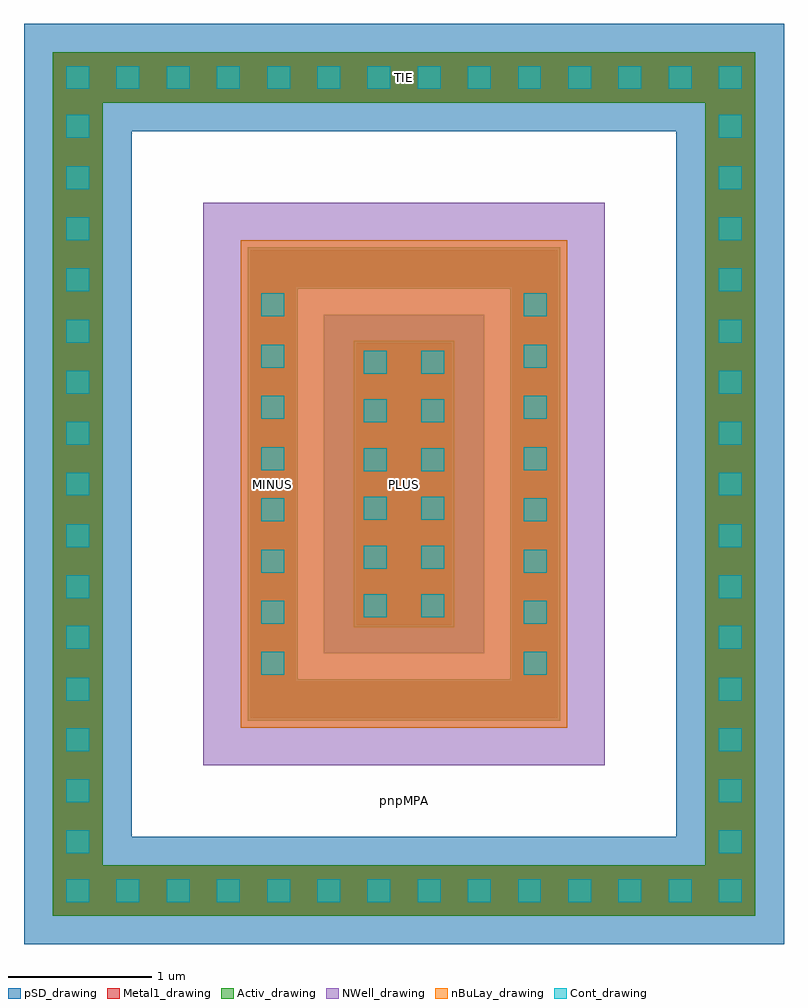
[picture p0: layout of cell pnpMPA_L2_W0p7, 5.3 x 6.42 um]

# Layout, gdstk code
import gdstk
lib = gdstk.Library(unit=1e-6, precision=1e-09)
def R(c, l, rs):  # rectangles x0, y0, x1, y1
    for r in rs: c.add(gdstk.rectangle(r[:2], r[2:], *l))
def P(c, l, *ps):  # polygons
    for p in ps: c.add(gdstk.Polygon(p, *l))
Activ_drawing = (1, 0)
Cont_drawing = (6, 0)
Metal1_drawing = (8, 0)
pSD_drawing = (14, 0)
NWell_drawing = (31, 0)
nBuLay_drawing = (32, 0)

rectangle_gdsfactorypcom = lib.new_cell('rectangle_gdsfactorypcomponentspshapesprectangle_S0p700_4cae727d')
R(rectangle_gdsfactorypcom, Activ_drawing, [(0,0,0.7,2)])

c_rectangle_gdsfactorypcom = lib.new_cell('rectangle_gdsfactorypcomponentspshapesprectangle_S1p12__f5ff6255')
R(c_rectangle_gdsfactorypcom, pSD_drawing, [(0,0,1.12,2.36)])

c_rectangle_gdsfactorypcom_ = lib.new_cell('rectangle_gdsfactorypcomponentspshapesprectangle_S0p16__bf15bdcd')
R(c_rectangle_gdsfactorypcom_, Cont_drawing, [(0,0,0.16,0.16)])

unnamed_317 = lib.new_cell('Unnamed_317')
P(unnamed_317, Activ_drawing, [(-1.09,-1.65),(-1.09,1.36),(-0.74,1.36),(-0.74,-1.36),(0.74,-1.36),(0.74,1.36),(-1.09,1.36),(-1.09,1.65),(1.09,1.65),(1.09,-1.65)])

unnamed_322 = lib.new_cell('Unnamed_322')
P(unnamed_322, Metal1_drawing, [(-1.07,-1.63),(-1.07,1.38),(-0.76,1.38),(-0.76,-1.38),(0.76,-1.38),(0.76,1.38),(-1.07,1.38),(-1.07,1.63),(1.07,1.63),(1.07,-1.63)])

c_rectangle_gdsfactorypcom__ = lib.new_cell('rectangle_gdsfactorypcomponentspshapesprectangle_S2p280_5368f5d8')
R(c_rectangle_gdsfactorypcom__, nBuLay_drawing, [(0,0,2.28,3.4)])

c_rectangle_gdsfactorypcom___ = lib.new_cell('rectangle_gdsfactorypcomponentspshapesprectangle_S2p800_ee7501a8')
R(c_rectangle_gdsfactorypcom___, NWell_drawing, [(0,0,2.8,3.92)])

unnamed_331 = lib.new_cell('Unnamed_331')
P(unnamed_331, pSD_drawing, [(-2.65,-3.21),(-2.65,2.46),(-1.9,2.46),(-1.9,-2.46),(1.9,-2.46),(1.9,2.46),(-2.65,2.46),(-2.65,3.21),(2.65,3.21),(2.65,-3.21)])

unnamed_336 = lib.new_cell('Unnamed_336')
P(unnamed_336, Activ_drawing, [(-2.45,-3.01),(-2.45,2.66),(-2.1,2.66),(-2.1,-2.66),(2.1,-2.66),(2.1,2.66),(-2.45,2.66),(-2.45,3.01),(2.45,3.01),(2.45,-3.01)])

unnamed_341 = lib.new_cell('Unnamed_341')
P(unnamed_341, Metal1_drawing, [(-2.45,-3.01),(-2.45,2.66),(-2.1,2.66),(-2.1,-2.66),(2.1,-2.66),(2.1,2.66),(-2.45,2.66),(-2.45,3.01),(2.45,3.01),(2.45,-3.01)])

c_rectangle_gdsfactorypcom____ = lib.new_cell('rectangle_gdsfactorypcomponentspshapesprectangle_S4p9_0_3d186bcc')
R(c_rectangle_gdsfactorypcom____, Metal1_drawing, [(0,0,4.9,0.35)])

c_rectangle_gdsfactorypcom_____ = lib.new_cell('rectangle_gdsfactorypcomponentspshapesprectangle_S0p66__d4d98202')
R(c_rectangle_gdsfactorypcom_____, Metal1_drawing, [(0,0,0.66,1.96)])

c_rectangle_gdsfactorypcom______ = lib.new_cell('rectangle_gdsfactorypcomponentspshapesprectangle_S0p310_68927d79')
R(c_rectangle_gdsfactorypcom______, Metal1_drawing, [(0,0,0.31,2.76)])

pnpmpa_l2_w0p7 = lib.new_cell('pnpMPA_L2_W0p7')
pnpmpa_l2_w0p7.add(gdstk.Reference(rectangle_gdsfactorypcom, (-0.35,-1)))
pnpmpa_l2_w0p7.add(gdstk.Reference(c_rectangle_gdsfactorypcom, (-0.56,-1.18)))
pnpmpa_l2_w0p7.add(gdstk.Reference(c_rectangle_gdsfactorypcom_, (-0.28,-0.93)))
pnpmpa_l2_w0p7.add(gdstk.Reference(c_rectangle_gdsfactorypcom_, (-0.28,-0.59)))
pnpmpa_l2_w0p7.add(gdstk.Reference(c_rectangle_gdsfactorypcom_, (-0.28,-0.25)))
pnpmpa_l2_w0p7.add(gdstk.Reference(c_rectangle_gdsfactorypcom_, (-0.28,0.09)))
pnpmpa_l2_w0p7.add(gdstk.Reference(c_rectangle_gdsfactorypcom_, (-0.28,0.43)))
pnpmpa_l2_w0p7.add(gdstk.Reference(c_rectangle_gdsfactorypcom_, (-0.28,0.77)))
pnpmpa_l2_w0p7.add(gdstk.Reference(c_rectangle_gdsfactorypcom_, (0.12,-0.93)))
pnpmpa_l2_w0p7.add(gdstk.Reference(c_rectangle_gdsfactorypcom_, (0.12,-0.59)))
pnpmpa_l2_w0p7.add(gdstk.Reference(c_rectangle_gdsfactorypcom_, (0.12,-0.25)))
pnpmpa_l2_w0p7.add(gdstk.Reference(c_rectangle_gdsfactorypcom_, (0.12,0.09)))
pnpmpa_l2_w0p7.add(gdstk.Reference(c_rectangle_gdsfactorypcom_, (0.12,0.43)))
pnpmpa_l2_w0p7.add(gdstk.Reference(c_rectangle_gdsfactorypcom_, (0.12,0.77)))
pnpmpa_l2_w0p7.add(gdstk.Reference(c_rectangle_gdsfactorypcom_, (-0.995,-1.33)))
pnpmpa_l2_w0p7.add(gdstk.Reference(c_rectangle_gdsfactorypcom_, (-0.995,-0.975)))
pnpmpa_l2_w0p7.add(gdstk.Reference(unnamed_317, (0,0)))
pnpmpa_l2_w0p7.add(gdstk.Reference(unnamed_322, (0,0)))
pnpmpa_l2_w0p7.add(gdstk.Reference(c_rectangle_gdsfactorypcom_, (-0.995,-0.62)))
pnpmpa_l2_w0p7.add(gdstk.Reference(c_rectangle_gdsfactorypcom_, (-0.995,-0.26)))
pnpmpa_l2_w0p7.add(gdstk.Reference(c_rectangle_gdsfactorypcom_, (-0.995,0.095)))
pnpmpa_l2_w0p7.add(gdstk.Reference(c_rectangle_gdsfactorypcom_, (-0.995,0.455)))
pnpmpa_l2_w0p7.add(gdstk.Reference(c_rectangle_gdsfactorypcom_, (-0.995,0.81)))
pnpmpa_l2_w0p7.add(gdstk.Reference(c_rectangle_gdsfactorypcom_, (-0.995,1.17)))
pnpmpa_l2_w0p7.add(gdstk.Reference(c_rectangle_gdsfactorypcom_, (0.835,-1.33)))
pnpmpa_l2_w0p7.add(gdstk.Reference(c_rectangle_gdsfactorypcom_, (0.835,-0.975)))
pnpmpa_l2_w0p7.add(gdstk.Reference(c_rectangle_gdsfactorypcom_, (0.835,-0.62)))
pnpmpa_l2_w0p7.add(gdstk.Reference(c_rectangle_gdsfactorypcom_, (0.835,-0.26)))
pnpmpa_l2_w0p7.add(gdstk.Reference(c_rectangle_gdsfactorypcom_, (0.835,0.095)))
pnpmpa_l2_w0p7.add(gdstk.Reference(c_rectangle_gdsfactorypcom_, (0.835,0.455)))
pnpmpa_l2_w0p7.add(gdstk.Reference(c_rectangle_gdsfactorypcom_, (0.835,0.81)))
pnpmpa_l2_w0p7.add(gdstk.Reference(c_rectangle_gdsfactorypcom_, (0.835,1.17)))
pnpmpa_l2_w0p7.add(gdstk.Reference(c_rectangle_gdsfactorypcom__, (-1.14,-1.7)))
pnpmpa_l2_w0p7.add(gdstk.Reference(c_rectangle_gdsfactorypcom___, (-1.4,-1.96)))
pnpmpa_l2_w0p7.add(gdstk.Reference(c_rectangle_gdsfactorypcom_, (-2.355,2.755)))
pnpmpa_l2_w0p7.add(gdstk.Reference(c_rectangle_gdsfactorypcom_, (-2.005,2.755)))
pnpmpa_l2_w0p7.add(gdstk.Reference(unnamed_331, (0,0)))
pnpmpa_l2_w0p7.add(gdstk.Reference(unnamed_336, (0,0)))
pnpmpa_l2_w0p7.add(gdstk.Reference(unnamed_341, (0,0)))
pnpmpa_l2_w0p7.add(gdstk.Reference(c_rectangle_gdsfactorypcom_, (-1.655,2.755)))
pnpmpa_l2_w0p7.add(gdstk.Reference(c_rectangle_gdsfactorypcom_, (-1.305,2.755)))
pnpmpa_l2_w0p7.add(gdstk.Reference(c_rectangle_gdsfactorypcom_, (-0.955,2.755)))
pnpmpa_l2_w0p7.add(gdstk.Reference(c_rectangle_gdsfactorypcom_, (-0.605,2.755)))
pnpmpa_l2_w0p7.add(gdstk.Reference(c_rectangle_gdsfactorypcom_, (-0.255,2.755)))
pnpmpa_l2_w0p7.add(gdstk.Reference(c_rectangle_gdsfactorypcom_, (0.095,2.755)))
pnpmpa_l2_w0p7.add(gdstk.Reference(c_rectangle_gdsfactorypcom_, (0.445,2.755)))
pnpmpa_l2_w0p7.add(gdstk.Reference(c_rectangle_gdsfactorypcom_, (0.795,2.755)))
pnpmpa_l2_w0p7.add(gdstk.Reference(c_rectangle_gdsfactorypcom_, (1.145,2.755)))
pnpmpa_l2_w0p7.add(gdstk.Reference(c_rectangle_gdsfactorypcom_, (1.495,2.755)))
pnpmpa_l2_w0p7.add(gdstk.Reference(c_rectangle_gdsfactorypcom_, (1.845,2.755)))
pnpmpa_l2_w0p7.add(gdstk.Reference(c_rectangle_gdsfactorypcom_, (2.195,2.755)))
pnpmpa_l2_w0p7.add(gdstk.Reference(c_rectangle_gdsfactorypcom____, (-2.45,2.66)))
pnpmpa_l2_w0p7.add(gdstk.Reference(c_rectangle_gdsfactorypcom_, (-2.355,-2.915)))
pnpmpa_l2_w0p7.add(gdstk.Reference(c_rectangle_gdsfactorypcom_, (-2.005,-2.915)))
pnpmpa_l2_w0p7.add(gdstk.Reference(c_rectangle_gdsfactorypcom_, (-1.655,-2.915)))
pnpmpa_l2_w0p7.add(gdstk.Reference(c_rectangle_gdsfactorypcom_, (-1.305,-2.915)))
pnpmpa_l2_w0p7.add(gdstk.Reference(c_rectangle_gdsfactorypcom_, (-0.955,-2.915)))
pnpmpa_l2_w0p7.add(gdstk.Reference(c_rectangle_gdsfactorypcom_, (-0.605,-2.915)))
pnpmpa_l2_w0p7.add(gdstk.Reference(c_rectangle_gdsfactorypcom_, (-0.255,-2.915)))
pnpmpa_l2_w0p7.add(gdstk.Reference(c_rectangle_gdsfactorypcom_, (0.095,-2.915)))
pnpmpa_l2_w0p7.add(gdstk.Reference(c_rectangle_gdsfactorypcom_, (0.445,-2.915)))
pnpmpa_l2_w0p7.add(gdstk.Reference(c_rectangle_gdsfactorypcom_, (0.795,-2.915)))
pnpmpa_l2_w0p7.add(gdstk.Reference(c_rectangle_gdsfactorypcom_, (1.145,-2.915)))
pnpmpa_l2_w0p7.add(gdstk.Reference(c_rectangle_gdsfactorypcom_, (1.495,-2.915)))
pnpmpa_l2_w0p7.add(gdstk.Reference(c_rectangle_gdsfactorypcom_, (1.845,-2.915)))
pnpmpa_l2_w0p7.add(gdstk.Reference(c_rectangle_gdsfactorypcom_, (2.195,-2.915)))
pnpmpa_l2_w0p7.add(gdstk.Reference(c_rectangle_gdsfactorypcom_, (-2.355,-2.575)))
pnpmpa_l2_w0p7.add(gdstk.Reference(c_rectangle_gdsfactorypcom_, (-2.355,-2.22)))
pnpmpa_l2_w0p7.add(gdstk.Reference(c_rectangle_gdsfactorypcom_, (-2.355,-1.865)))
pnpmpa_l2_w0p7.add(gdstk.Reference(c_rectangle_gdsfactorypcom_, (-2.355,-1.51)))
pnpmpa_l2_w0p7.add(gdstk.Reference(c_rectangle_gdsfactorypcom_, (-2.355,-1.15)))
pnpmpa_l2_w0p7.add(gdstk.Reference(c_rectangle_gdsfactorypcom_, (-2.355,-0.795)))
pnpmpa_l2_w0p7.add(gdstk.Reference(c_rectangle_gdsfactorypcom_, (-2.355,-0.44)))
pnpmpa_l2_w0p7.add(gdstk.Reference(c_rectangle_gdsfactorypcom_, (-2.355,-0.08)))
pnpmpa_l2_w0p7.add(gdstk.Reference(c_rectangle_gdsfactorypcom_, (-2.355,0.275)))
pnpmpa_l2_w0p7.add(gdstk.Reference(c_rectangle_gdsfactorypcom_, (-2.355,0.63)))
pnpmpa_l2_w0p7.add(gdstk.Reference(c_rectangle_gdsfactorypcom_, (-2.355,0.985)))
pnpmpa_l2_w0p7.add(gdstk.Reference(c_rectangle_gdsfactorypcom_, (-2.355,1.345)))
pnpmpa_l2_w0p7.add(gdstk.Reference(c_rectangle_gdsfactorypcom_, (-2.355,1.7)))
pnpmpa_l2_w0p7.add(gdstk.Reference(c_rectangle_gdsfactorypcom_, (-2.355,2.055)))
pnpmpa_l2_w0p7.add(gdstk.Reference(c_rectangle_gdsfactorypcom_, (-2.355,2.415)))
pnpmpa_l2_w0p7.add(gdstk.Reference(c_rectangle_gdsfactorypcom_, (2.195,-2.575)))
pnpmpa_l2_w0p7.add(gdstk.Reference(c_rectangle_gdsfactorypcom_, (2.195,-2.22)))
pnpmpa_l2_w0p7.add(gdstk.Reference(c_rectangle_gdsfactorypcom_, (2.195,-1.865)))
pnpmpa_l2_w0p7.add(gdstk.Reference(c_rectangle_gdsfactorypcom_, (2.195,-1.51)))
pnpmpa_l2_w0p7.add(gdstk.Reference(c_rectangle_gdsfactorypcom_, (2.195,-1.15)))
pnpmpa_l2_w0p7.add(gdstk.Reference(c_rectangle_gdsfactorypcom_, (2.195,-0.795)))
pnpmpa_l2_w0p7.add(gdstk.Reference(c_rectangle_gdsfactorypcom_, (2.195,-0.44)))
pnpmpa_l2_w0p7.add(gdstk.Reference(c_rectangle_gdsfactorypcom_, (2.195,-0.08)))
pnpmpa_l2_w0p7.add(gdstk.Reference(c_rectangle_gdsfactorypcom_, (2.195,0.275)))
pnpmpa_l2_w0p7.add(gdstk.Reference(c_rectangle_gdsfactorypcom_, (2.195,0.63)))
pnpmpa_l2_w0p7.add(gdstk.Reference(c_rectangle_gdsfactorypcom_, (2.195,0.985)))
pnpmpa_l2_w0p7.add(gdstk.Reference(c_rectangle_gdsfactorypcom_, (2.195,1.345)))
pnpmpa_l2_w0p7.add(gdstk.Reference(c_rectangle_gdsfactorypcom_, (2.195,1.7)))
pnpmpa_l2_w0p7.add(gdstk.Reference(c_rectangle_gdsfactorypcom_, (2.195,2.055)))
pnpmpa_l2_w0p7.add(gdstk.Reference(c_rectangle_gdsfactorypcom_, (2.195,2.415)))
pnpmpa_l2_w0p7.add(gdstk.Reference(c_rectangle_gdsfactorypcom_____, (-0.33,-0.98)))
pnpmpa_l2_w0p7.add(gdstk.Reference(c_rectangle_gdsfactorypcom_____, (-0.33,-0.98)))
pnpmpa_l2_w0p7.add(gdstk.Reference(c_rectangle_gdsfactorypcom______, (-1.07,-1.38)))
pnpmpa_l2_w0p7.add(gdstk.Label('PLUS', (0,0), layer=63, texttype=0))
pnpmpa_l2_w0p7.add(gdstk.Label('MINUS', (-0.915,0), layer=63, texttype=0))
pnpmpa_l2_w0p7.add(gdstk.Label('pnpMPA', (0,-2.21), layer=63, texttype=0))
pnpmpa_l2_w0p7.add(gdstk.Label('TIE', (0,2.835), layer=63, texttype=0))

lib.write_gds('pnpMPA_L2_W0p7.gds')
